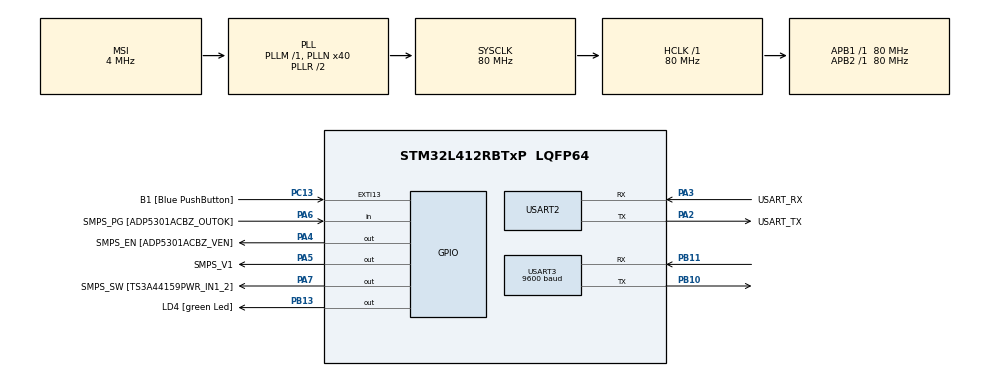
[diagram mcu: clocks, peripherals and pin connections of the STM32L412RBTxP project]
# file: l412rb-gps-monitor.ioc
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Mcu.Family=STM32L4
Mcu.Name=STM32L412RBTxP
Mcu.Package=LQFP64
NVIC.PriorityGroup=NVIC_PRIORITYGROUP_4
NVIC.USART3_IRQn=true\:0\:0\:false\:false\:true\:true\:true\:true
PA13\ (JTMS/SWDIO).GPIO_Label=TMS
PA13\ (JTMS/SWDIO).Mode=Serial_Wire
PA13\ (JTMS/SWDIO).Signal=SYS_JTMS-SWDIO
PA14\ (JTCK/SWCLK).GPIO_Label=TCK
PA14\ (JTCK/SWCLK).Mode=Serial_Wire
PA14\ (JTCK/SWCLK).Signal=SYS_JTCK-SWCLK
PA2.GPIO_Label=USART_TX
PA2.GPIO_PuPd=GPIO_NOPULL
PA2.GPIO_Speed=GPIO_SPEED_FREQ_VERY_HIGH
PA2.Mode=Asynchronous
PA2.Signal=USART2_TX
PA3.GPIO_Label=USART_RX
PA3.GPIO_PuPd=GPIO_NOPULL
PA3.GPIO_Speed=GPIO_SPEED_FREQ_VERY_HIGH
PA3.Mode=Asynchronous
PA3.Signal=USART2_RX
PA4.GPIO_Label=SMPS_EN [ADP5301ACBZ_VEN]
PA4.Signal=GPIO_Output
PA5.GPIO_Label=SMPS_V1
PA5.GPIO_ModeDefaultOutputPP=GPIO_MODE_OUTPUT_PP
PA5.GPIO_PuPd=GPIO_NOPULL
PA5.GPIO_Speed=GPIO_SPEED_FREQ_LOW
PA5.Signal=GPIO_Output
PA6.GPIO_Label=SMPS_PG [ADP5301ACBZ_OUTOK]
PA6.GPIO_PuPd=GPIO_PULLUP
PA6.Signal=GPIO_Input
PA7.GPIO_Label=SMPS_SW [TS3A44159PWR_IN1_2]
PA7.Signal=GPIO_Output
PB10.Mode=Asynchronous
PB10.Signal=USART3_TX
PB11.Mode=Asynchronous
PB11.Signal=USART3_RX
PB13.GPIO_Label=LD4 [green Led]
PB13.Signal=GPIO_Output
PB3\ (JTDO/TRACESWO).GPIO_Label=SWO
PB3\ (JTDO/TRACESWO).Signal=SYS_JTDO-SWO
PC13.GPIO_Label=B1 [Blue PushButton]
PC13.GPIO_ModeDefaultEXTI=GPIO_MODE_IT_FALLING
PC13.GPIO_PuPd=GPIO_NOPULL
PC13.Signal=GPXTI13
PC14-OSC32_IN\ (PC14).Mode=LSE-External-Oscillator
PC14-OSC32_IN\ (PC14).Signal=RCC_OSC32_IN
PC15-OSC32_OUT\ (PC15).Mode=LSE-External-Oscillator
PC15-OSC32_OUT\ (PC15).Signal=RCC_OSC32_OUT
PH0-OSC_IN\ (PH0).GPIO_Label=MCO
PH0-OSC_IN\ (PH0).Mode=HSE-External-Clock-Source
PH0-OSC_IN\ (PH0).Signal=RCC_OSC_IN
PH1-OSC_OUT\ (PH1).Signal=RCC_OSC_OUT
ProjectManager.HeapSize=0x200
ProjectManager.StackSize=0x400
ProjectManager.TargetToolchain=STM32CubeIDE
RCC.ADCFreq_Value=80000000
RCC.AHBFreq_Value=80000000
RCC.APB1Freq_Value=80000000
RCC.APB1TimFreq_Value=80000000
RCC.APB2Freq_Value=80000000
RCC.APB2TimFreq_Value=80000000
RCC.CortexFreq_Value=80000000
RCC.FLatency=FLASH_LATENCY_4
RCC.HCLKFreq_Value=80000000
RCC.HSE_VALUE=8000000
RCC.HSI48_VALUE=48000000
RCC.HSICalibrationValue=16
RCC.HSI_VALUE=16000000
RCC.MSIAutoCalibration=DISABLED
RCC.MSI_VALUE=4000000
RCC.PLLN=40
RCC.PREFETCH_ENABLE=1
RCC.SYSCLKFreq_VALUE=80000000
RCC.SYSCLKSource=RCC_SYSCLKSOURCE_PLLCLK
RCC.USBFreq_Value=4000000
RCC.VCOOutputFreq_Value=160000000
USART2.VirtualMode-Asynchronous=VM_ASYNC
USART3.BaudRate=9600
USART3.SwapParam=ADVFEATURE_SWAP_DISABLE
USART3.VirtualMode-Asynchronous=VM_ASYNC
board=NUCLEO-L412RB-P

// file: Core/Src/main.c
/* USER CODE BEGIN Header */
/**
 ******************************************************************************
 * @file           : main.c
 * @brief          : Main program body
 ******************************************************************************
 * @attention
 *
 * Copyright (c) 2023 STMicroelectronics.
 * All rights reserved.
 *
 * This software is licensed under terms that can be found in the LICENSE file
 * in the root directory of this software component.
 * If no LICENSE file comes with this software, it is provided AS-IS.
 *
 ******************************************************************************
 */
/* USER CODE END Header */
#include "main.h"

/* USER CODE BEGIN Includes */
#include <stdio.h>
#include <string.h>

#include "ublox_neo6m.h"
/* USER CODE END Includes */

UART_HandleTypeDef huart2;
UART_HandleTypeDef huart3;

void SystemClock_Config(void);
static void MX_GPIO_Init(void);
static void MX_USART2_UART_Init(void);
static void MX_USART3_UART_Init(void);
/* USER CODE BEGIN PFP */

#ifdef __GNUC__
#define PUTCHAR_PROTOTYPE int __io_putchar(int ch)
#else
#define PUTCHAR_PROTOTYPE int fputc(int ch, FILE *f)
#endif

PUTCHAR_PROTOTYPE {
	HAL_UART_Transmit(&huart2, (uint8_t*) &ch, 1, HAL_MAX_DELAY);
	return ch;
}
/* USER CODE END PFP */

int main(void) {

	/* MCU Configuration--------------------------------------------------------*/

	/* Reset of all peripherals, Initializes the Flash interface and the Systick. */
	HAL_Init();

	/* Configure the system clock */
	SystemClock_Config();

	/* Initialize all configured peripherals */
	MX_GPIO_Init();
	MX_USART2_UART_Init();
	MX_USART3_UART_Init();

	/* Infinite loop */
	/* USER CODE BEGIN WHILE */

	ublox_neo6m_ConfigStruct neo6m_conf = {
			.huartNeo6m = &huart3,
			.huartLogging = &huart2 };

	ublox_neo6m_DataStruct neo6m_data;
	ublox_neo6m_ErrorType err = UBLOX_OK;

	printf("\033[2JGPS Monitor Startup\n");

	err = ublox_neo6m_init(&neo6m_conf);
	if (err == UBLOX_OK) {
		printf("Dbg: U-blox NEO-6M Initialised correctly\n\n");
	} else {
		printf("Err: U-blox NEO-6M Initialisation error!\n");
	}

	do {
		err = ublox_neo6m_readData(&neo6m_conf, &neo6m_data);
		printf("U-blox NEO-6M Data reading returned: %d\n", err);
		HAL_UART_Abort(neo6m_conf.huartNeo6m);
	} while (err != UBLOX_OK);

	printf("Dbg: U-blox NEO-6M Data read correctly\n");

	printf("\n\n--------------- GPS Data ---------------\n");
	printf("| GPS Status:\t\t%u\t\t|\n", neo6m_data.isGpsActive);
	printf("| Satellites tracked:\t%u\t\t|\n", neo6m_data.satTracked);
	printf("| Latitude:\t\t%u %c\t|\n", neo6m_data.coordLatitude, neo6m_data.coordLatitudeHem);
	printf("| Longitude:\t\t%u %c\t|\n", neo6m_data.coordLongitude, neo6m_data.coordLongitudeHem);
	printf("| Altitude:\t\t%d cm\t\t|\n", neo6m_data.altitude);
	printf("| Time:\t\t\t%d\t\t|\n", neo6m_data.time);
	printf("-----------------------------------------\n");

	while (1) {
		// Blink an LED to indicate that new data has been received
		HAL_GPIO_TogglePin(GPIOB, GPIO_PIN_13);
		HAL_Delay(1000);
		HAL_GPIO_TogglePin(GPIOB, GPIO_PIN_13);
		HAL_Delay(1000);

		/* USER CODE END WHILE */

	}
}

void SystemClock_Config(void) {
	RCC_OscInitTypeDef RCC_OscInitStruct = {
			0 };
	RCC_ClkInitTypeDef RCC_ClkInitStruct = {
			0 };

	/** Configure the main internal regulator output voltage
	 */
	if (HAL_PWREx_ControlVoltageScaling(PWR_REGULATOR_VOLTAGE_SCALE1) != HAL_OK) {
		Error_Handler();
	}

	/** Initializes the RCC Oscillators according to the specified parameters
	 * in the RCC_OscInitTypeDef structure.
	 */
	RCC_OscInitStruct.OscillatorType = RCC_OSCILLATORTYPE_MSI;
	RCC_OscInitStruct.MSIState = RCC_MSI_ON;
	RCC_OscInitStruct.MSICalibrationValue = 0;
	RCC_OscInitStruct.MSIClockRange = RCC_MSIRANGE_6;
	RCC_OscInitStruct.PLL.PLLState = RCC_PLL_ON;
	RCC_OscInitStruct.PLL.PLLSource = RCC_PLLSOURCE_MSI;
	RCC_OscInitStruct.PLL.PLLM = 1;
	RCC_OscInitStruct.PLL.PLLN = 40;
	RCC_OscInitStruct.PLL.PLLQ = RCC_PLLQ_DIV2;
	RCC_OscInitStruct.PLL.PLLR = RCC_PLLR_DIV2;
	if (HAL_RCC_OscConfig(&RCC_OscInitStruct) != HAL_OK) {
		Error_Handler();
	}

	/** Initializes the CPU, AHB and APB buses clocks
	 */
	RCC_ClkInitStruct.ClockType = RCC_CLOCKTYPE_HCLK | RCC_CLOCKTYPE_SYSCLK | RCC_CLOCKTYPE_PCLK1 | RCC_CLOCKTYPE_PCLK2;
	RCC_ClkInitStruct.SYSCLKSource = RCC_SYSCLKSOURCE_PLLCLK;
	RCC_ClkInitStruct.AHBCLKDivider = RCC_SYSCLK_DIV1;
	RCC_ClkInitStruct.APB1CLKDivider = RCC_HCLK_DIV1;
	RCC_ClkInitStruct.APB2CLKDivider = RCC_HCLK_DIV1;

	if (HAL_RCC_ClockConfig(&RCC_ClkInitStruct, FLASH_LATENCY_4) != HAL_OK) {
		Error_Handler();
	}
}

static void MX_USART2_UART_Init(void) {

	huart2.Instance = USART2;
	huart2.Init.BaudRate = 115200;
	huart2.Init.WordLength = UART_WORDLENGTH_8B;
	huart2.Init.StopBits = UART_STOPBITS_1;
	huart2.Init.Parity = UART_PARITY_NONE;
	huart2.Init.Mode = UART_MODE_TX_RX;
	huart2.Init.HwFlowCtl = UART_HWCONTROL_NONE;
	huart2.Init.OverSampling = UART_OVERSAMPLING_16;
	huart2.Init.OneBitSampling = UART_ONE_BIT_SAMPLE_DISABLE;
	huart2.AdvancedInit.AdvFeatureInit = UART_ADVFEATURE_NO_INIT;
	if (HAL_UART_Init(&huart2) != HAL_OK) {
		Error_Handler();
	}

}

static void MX_USART3_UART_Init(void) {

	huart3.Instance = USART3;
	huart3.Init.BaudRate = 9600;
	huart3.Init.WordLength = UART_WORDLENGTH_8B;
	huart3.Init.StopBits = UART_STOPBITS_1;
	huart3.Init.Parity = UART_PARITY_NONE;
	huart3.Init.Mode = UART_MODE_TX_RX;
	huart3.Init.HwFlowCtl = UART_HWCONTROL_NONE;
	huart3.Init.OverSampling = UART_OVERSAMPLING_16;
	huart3.Init.OneBitSampling = UART_ONE_BIT_SAMPLE_DISABLE;
	huart3.AdvancedInit.AdvFeatureInit = UART_ADVFEATURE_NO_INIT;
	if (HAL_UART_Init(&huart3) != HAL_OK) {
		Error_Handler();
	}

}

static void MX_GPIO_Init(void) {
	GPIO_InitTypeDef GPIO_InitStruct = {
			0 };

	/* GPIO Ports Clock Enable */
	__HAL_RCC_GPIOC_CLK_ENABLE();
	__HAL_RCC_GPIOH_CLK_ENABLE();
	__HAL_RCC_GPIOA_CLK_ENABLE();
	__HAL_RCC_GPIOB_CLK_ENABLE();

	/*Configure GPIO pin Output Level */
	HAL_GPIO_WritePin(GPIOA, SMPS_EN_Pin | SMPS_V1_Pin | SMPS_SW_Pin, GPIO_PIN_RESET);

	/*Configure GPIO pin Output Level */
	HAL_GPIO_WritePin(LD4_GPIO_Port, LD4_Pin, GPIO_PIN_RESET);

	/*Configure GPIO pin : B1_Pin */
	GPIO_InitStruct.Pin = B1_Pin;
	GPIO_InitStruct.Mode = GPIO_MODE_IT_FALLING;
	GPIO_InitStruct.Pull = GPIO_NOPULL;
	HAL_GPIO_Init(B1_GPIO_Port, &GPIO_InitStruct);

	/*Configure GPIO pins : SMPS_EN_Pin SMPS_V1_Pin SMPS_SW_Pin */
	GPIO_InitStruct.Pin = SMPS_EN_Pin | SMPS_V1_Pin | SMPS_SW_Pin;
	GPIO_InitStruct.Mode = GPIO_MODE_OUTPUT_PP;
	GPIO_InitStruct.Pull = GPIO_NOPULL;
	GPIO_InitStruct.Speed = GPIO_SPEED_FREQ_LOW;
	HAL_GPIO_Init(GPIOA, &GPIO_InitStruct);

	/*Configure GPIO pin : SMPS_PG_Pin */
	GPIO_InitStruct.Pin = SMPS_PG_Pin;
	GPIO_InitStruct.Mode = GPIO_MODE_INPUT;
	GPIO_InitStruct.Pull = GPIO_PULLUP;
	HAL_GPIO_Init(SMPS_PG_GPIO_Port, &GPIO_InitStruct);

	/*Configure GPIO pin : LD4_Pin */
	GPIO_InitStruct.Pin = LD4_Pin;
	GPIO_InitStruct.Mode = GPIO_MODE_OUTPUT_PP;
	GPIO_InitStruct.Pull = GPIO_NOPULL;
	GPIO_InitStruct.Speed = GPIO_SPEED_FREQ_LOW;
	HAL_GPIO_Init(LD4_GPIO_Port, &GPIO_InitStruct);

}

void Error_Handler(void) {
	__disable_irq();
	while (1) {
	}
}
